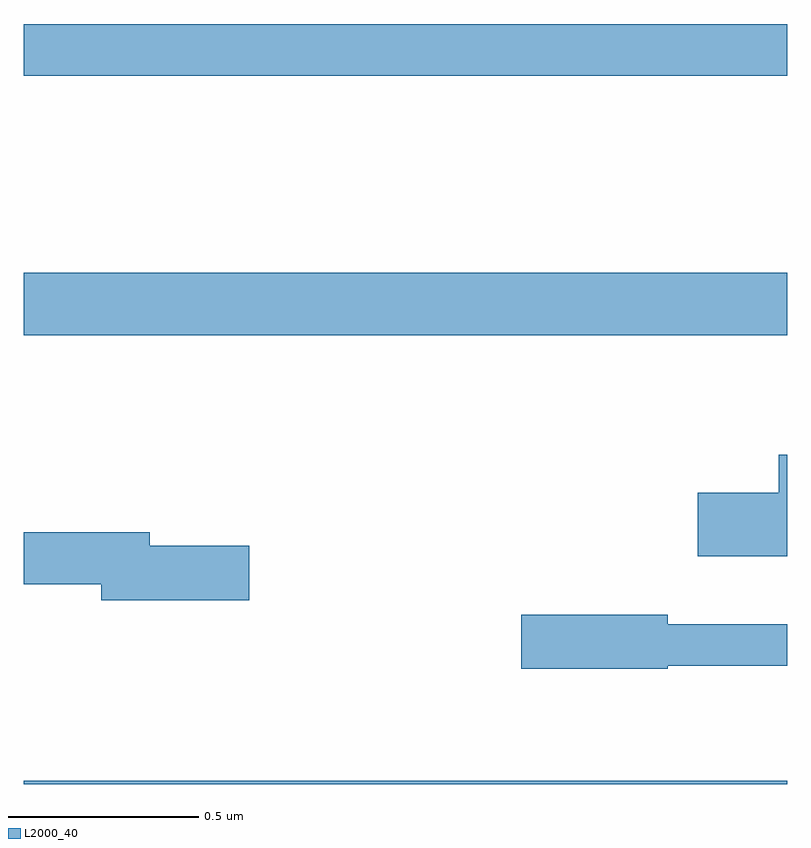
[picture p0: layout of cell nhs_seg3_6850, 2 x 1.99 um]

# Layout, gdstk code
import gdstk
lib = gdstk.Library(unit=1e-6, precision=1e-09)
def R(c, l, rs):  # rectangles x0, y0, x1, y1
    for r in rs: c.add(gdstk.rectangle(r[:2], r[2:], *l))
def P(c, l, *ps):  # polygons
    for p in ps: c.add(gdstk.Polygon(p, *l))
L2000_40 = (2000, 40)

nhs_seg3_6850 = lib.new_cell('nhs_seg3_6850')
R(nhs_seg3_6850, L2000_40, [(196,706.4,198,706.408), (196,707.576,198,707.74), (196,708.256,198,708.392)])
P(nhs_seg3_6850, L2000_40, [(198,707.263),(197.978,707.263),(197.978,707.163),(197.766,707.163),(197.766,706.997),(198,706.997)],
  [(196.591,707.024),(196.33,707.024),(196.33,707.06),(196,707.06),(196,706.924),(196.202,706.924),(196.202,706.882),(196.591,706.882)],
  [(197.688,706.71),(198,706.71),(198,706.819),(197.688,706.819),(197.688,706.844),(197.304,706.844),(197.304,706.702),(197.688,706.702)])

lib.write_gds('nhs_seg3_6850.gds')
